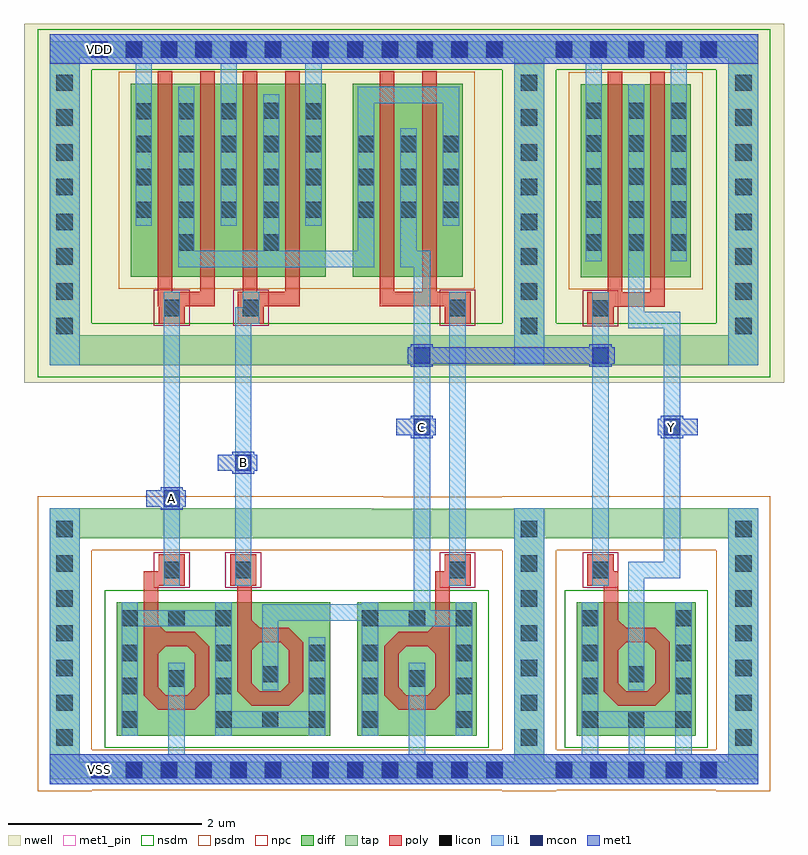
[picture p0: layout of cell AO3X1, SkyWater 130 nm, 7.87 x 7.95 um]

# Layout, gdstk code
import gdstk
lib = gdstk.Library(unit=1e-6, precision=1e-09)
def R(c, l, rs):  # rectangles x0, y0, x1, y1
    for r in rs: c.add(gdstk.rectangle(r[:2], r[2:], *l))
def A(c, l, x, y, w, h, nx, ny, dx, dy):  # array of equal rectangles
    R(c, l, [(x+i*dx, y+j*dy, x+i*dx+w, y+j*dy+h) for i in range(nx) for j in range(ny)])
def P(c, l, *ps):  # polygons
    for p in ps: c.add(gdstk.Polygon(p, *l))
nwell = (64, 20)
diff = (65, 20)
tap = (65, 44)
poly = (66, 20)
licon = (66, 44)
li1 = (67, 20)
mcon = (67, 44)
met1_pin = (68, 16)
met1 = (68, 20)
nsdm = (93, 44)
psdm = (94, 20)
npc = (95, 20)

ao3x1 = lib.new_cell('AO3X1')
R(ao3x1, nwell, [(-0.42,4.16,7.45,7.875)])
R(ao3x1, diff, [(0.54,0.505,2.75,1.885), (3.03,0.505,4.27,1.885), (5.305,0.505,6.535,1.885), (5.345,5.25,6.485,7.25), (0.685,5.255,2.705,7.255), (2.985,5.255,4.125,7.255)])
R(ao3x1, tap, [(-0.155,0.055,0.155,0.065), (4.655,0.055,4.965,0.065), (6.875,0.055,7.185,0.065), (-0.155,0.065,7.185,0.235), (-0.155,0.235,0.155,2.55), (4.655,0.235,4.965,2.55), (6.875,0.235,7.185,2.55), (-0.155,2.55,7.185,2.855), (-0.155,2.855,3.175,2.86), (4.655,2.855,7.185,2.86), (-0.155,4.34,7.185,4.65), (-0.155,4.65,0.155,7.525), (4.655,4.65,4.965,7.525), (6.875,4.65,7.185,7.525), (-0.155,7.525,7.185,7.695)])
A(ao3x1, poly, 0.965, 5.1, 0.15, 2.285, 4, 1, 0.44, 0)
R(ao3x1, poly, [(0.97,0.775,1.35,0.925), (3.46,0.775,3.84,0.815), (1.94,0.815,2.32,0.965), (3.42,0.815,3.84,0.925), (5.735,0.815,6.115,0.965), (0.82,0.925,0.97,1.43), (1.35,0.925,1.5,1.43), (3.31,0.925,3.46,1.43), (3.84,0.925,3.99,1.43), (1.79,0.965,1.94,1.47), (2.32,0.965,2.47,1.47), (5.585,0.965,5.735,1.47), (6.115,0.965,6.265,1.47), (0.82,1.43,1.35,1.58), (3.46,1.43,3.99,1.58), (1.79,1.47,2.32,1.62), (5.585,1.47,6.115,1.62), (0.82,1.58,0.97,2.055), (3.8,1.58,3.99,1.62), (1.79,1.62,1.94,2.055), (3.84,1.62,3.99,2.055), (5.585,1.62,5.735,2.055), (0.82,2.055,1.245,2.205), (1.715,2.055,1.985,2.385), (3.84,2.055,4.205,2.205), (5.415,2.055,5.735,2.205), (0.975,2.205,1.245,2.385), (3.935,2.205,4.205,2.385), (5.415,2.205,5.685,2.385), (5.415,4.765,5.685,4.945), (0.975,4.77,1.245,4.95), (1.795,4.77,2.065,4.95), (3.935,4.77,4.205,4.95), (5.415,4.945,6.215,5.095), (0.965,4.95,1.555,5.1), (1.795,4.95,2.435,5.1), (3.265,4.95,4.205,5.1), (5.625,5.095,5.775,7.38), (6.065,5.095,6.215,7.38), (3.265,5.1,3.415,7.385), (3.705,5.1,3.855,7.385)])
P(ao3x1, poly, [(0.97,1.66),(0.97,1.58),(1.05,1.58)],
  [(1.94,1.7),(1.94,1.62),(2.02,1.62)],
  [(3.8,1.62),(3.84,1.62),(3.84,1.66)],
  [(1.35,1.58),(1.35,1.43),(1.5,1.43)],
  [(0.97,1.35),(0.97,1.43),(1.05,1.43)],
  [(1.27,1.43),(1.35,1.43),(1.35,1.35)],
  [(0.97,1.005),(0.97,0.925),(1.05,0.925)],
  [(1.27,0.925),(1.35,0.925),(1.35,1.005)],
  [(0.82,0.925),(0.97,0.925),(0.97,0.775)],
  [(1.35,0.775),(1.35,0.925),(1.5,0.925)],
  [(2.32,1.62),(2.32,1.47),(2.47,1.47)],
  [(3.76,1.58),(3.8,1.58),(3.8,1.62)],
  [(1.94,1.39),(1.94,1.47),(2.02,1.47)],
  [(2.24,1.47),(2.32,1.47),(2.32,1.39)],
  [(1.94,1.045),(1.94,0.965),(2.02,0.965)],
  [(2.24,0.965),(2.32,0.965),(2.32,1.045)],
  [(1.79,0.965),(1.94,0.965),(1.94,0.815)],
  [(2.32,0.815),(2.32,0.965),(2.47,0.965)],
  [(3.31,1.43),(3.46,1.43),(3.46,1.58)],
  [(3.46,1.35),(3.46,1.43),(3.54,1.43)],
  [(3.76,1.43),(3.84,1.43),(3.84,1.35)],
  [(3.46,1.005),(3.46,0.925),(3.54,0.925)],
  [(3.76,0.925),(3.84,0.925),(3.84,1.005)],
  [(3.31,0.925),(3.42,0.925),(3.42,0.815)],
  [(3.42,0.815),(3.46,0.815),(3.46,0.775)],
  [(3.84,0.775),(3.84,0.925),(3.99,0.925)],
  [(5.735,1.7),(5.735,1.62),(5.815,1.62)],
  [(6.115,1.62),(6.115,1.47),(6.265,1.47)],
  [(5.735,1.39),(5.735,1.47),(5.815,1.47)],
  [(6.035,1.47),(6.115,1.47),(6.115,1.39)],
  [(5.735,1.045),(5.735,0.965),(5.815,0.965)],
  [(6.035,0.965),(6.115,0.965),(6.115,1.045)],
  [(5.585,0.965),(5.735,0.965),(5.735,0.815)],
  [(6.115,0.815),(6.115,0.965),(6.265,0.965)])
A(ao3x1, licon, 0.275, 0.065, 0.17, 0.17, 6, 2, 0.36, 7.46)
A(ao3x1, licon, 2.565, 0.065, 0.17, 0.17, 6, 2, 0.36, 7.46)
A(ao3x1, licon, 5.445, 0.065, 0.17, 0.17, 3, 2, 0.39, 7.46)
A(ao3x1, licon, -0.085, 0.4, 0.17, 0.17, 1, 7, 0, 0.36)
A(ao3x1, licon, 4.725, 0.4, 0.17, 0.17, 1, 7, 0, 0.36)
A(ao3x1, licon, 6.945, 0.4, 0.17, 0.17, 1, 7, 0, 0.36)
A(ao3x1, licon, 1.56, 0.585, 0.17, 0.17, 3, 1, 0.485, 0)
A(ao3x1, licon, 0.59, 0.935, 0.17, 0.17, 3, 2, 0.97, 0.34)
A(ao3x1, licon, 0.59, 1.635, 0.17, 0.17, 3, 1, 0.485, 0)
A(ao3x1, licon, 3.08, 1.635, 0.17, 0.17, 3, 1, 0.485, 0)
A(ao3x1, licon, -0.085, 4.66, 0.17, 0.17, 1, 8, 0, 0.36)
A(ao3x1, licon, 4.725, 4.66, 0.17, 0.17, 1, 8, 0, 0.36)
A(ao3x1, licon, 6.945, 4.66, 0.17, 0.17, 1, 8, 0, 0.36)
A(ao3x1, licon, 5.395, 5.525, 0.17, 0.17, 3, 2, 0.44, 0.345)
A(ao3x1, licon, 0.735, 5.865, 0.17, 0.17, 5, 3, 0.44, 0.34)
A(ao3x1, licon, 3.035, 5.865, 0.17, 0.17, 3, 3, 0.44, 0.34)
A(ao3x1, licon, 5.395, 6.21, 0.17, 0.17, 3, 3, 0.44, 0.34)
A(ao3x1, licon, 0.735, 6.885, 0.17, 0.17, 3, 1, 0.44, 0)
R(ao3x1, licon, [(5.085,0.065,5.255,0.235), (6.585,0.065,6.755,0.235), (0.59,0.585,0.76,0.755), (3.08,0.585,3.25,0.755), (4.05,0.585,4.22,0.755), (5.355,0.585,5.525,0.755), (5.835,0.585,6.005,0.755), (6.325,0.585,6.495,0.755), (3.08,0.935,3.25,1.105), (4.05,0.935,4.22,1.105), (5.355,0.935,5.525,1.105), (6.325,0.935,6.495,1.105), (1.075,1.01,1.245,1.18), (3.565,1.01,3.735,1.18), (2.045,1.055,2.215,1.225), (5.835,1.055,6.005,1.225), (3.08,1.275,3.25,1.445), (4.05,1.275,4.22,1.445), (5.355,1.275,5.525,1.445), (6.325,1.275,6.495,1.445), (5.355,1.635,5.525,1.805), (6.325,1.635,6.495,1.805), (1.025,2.135,1.195,2.305), (1.765,2.135,1.935,2.305), (3.985,2.135,4.155,2.305), (5.465,2.135,5.635,2.305), (5.465,4.845,5.635,5.015), (1.025,4.85,1.195,5.02), (1.845,4.85,2.015,5.02), (3.985,4.85,4.155,5.02), (1.175,5.525,1.345,5.695), (2.055,5.525,2.225,5.695), (2.495,6.885,2.665,7.055), (2.055,6.89,2.225,7.06), (5.085,7.525,5.255,7.695), (6.585,7.525,6.755,7.695)])
A(ao3x1, li1, 5.355, 0.31, 0.17, 0.275, 3, 1, 0.485, 0)
A(ao3x1, li1, 0.735, 5.785, 0.17, 1.675, 3, 1, 0.88, 0)
R(ao3x1, li1, [(-0.155,0,7.185,0.31), (-0.155,0.31,0.155,2.86), (1.075,0.31,1.245,1.26), (3.565,0.31,3.735,1.26), (4.655,0.31,4.965,2.86), (6.875,0.31,7.185,2.86), (0.59,0.505,0.76,1.635), (1.56,0.505,1.73,0.585), (2.53,0.505,2.7,0.585), (3.08,0.505,3.25,1.635), (4.05,0.505,4.22,1.635), (1.56,0.585,2.7,0.755), (5.355,0.585,6.495,0.755), (1.56,0.755,1.73,1.635), (2.53,0.755,2.7,1.525), (5.355,0.755,5.525,1.885), (6.325,0.755,6.495,1.885), (2.045,0.975,2.215,1.695), (5.835,0.975,6.005,2.135), (0.59,1.635,1.73,1.805), (3.08,1.635,4.22,1.695), (2.045,1.695,4.22,1.805), (0.59,1.805,0.76,1.885), (1.56,1.805,1.73,1.885), (2.045,1.805,3.25,1.865), (3.615,1.805,3.785,5.355), (4.05,1.805,4.22,1.885), (3.08,1.865,3.25,1.885), (1.025,2.055,1.195,5.1), (1.765,2.055,1.935,4.77), (3.985,2.055,4.155,5.1), (5.465,2.055,5.635,5.095), (5.835,2.135,6.375,2.305), (6.205,2.305,6.375,4.725), (-0.155,4.34,0.155,7.46), (4.655,4.34,4.965,7.46), (6.875,4.34,7.185,7.46), (5.835,4.725,6.375,4.895), (1.765,4.77,2.015,4.94), (5.835,4.895,6.005,7.25), (1.845,4.94,2.015,5.1), (1.175,5.355,3.205,5.525), (3.475,5.355,3.785,5.525), (5.395,5.415,5.565,7.46), (6.275,5.415,6.445,7.46), (1.175,5.525,1.345,7.225), (2.055,5.525,2.225,7.145), (3.035,5.525,3.205,7.055), (3.475,5.525,3.645,6.795), (3.915,5.785,4.085,7.055), (3.035,7.055,4.085,7.225), (-0.155,7.46,7.185,7.77)])
A(ao3x1, mcon, 0.275, 0.065, 0.17, 0.17, 6, 2, 0.36, 7.46)
A(ao3x1, mcon, 2.565, 0.065, 0.17, 0.17, 6, 2, 0.36, 7.46)
A(ao3x1, mcon, 5.445, 0.065, 0.17, 0.17, 3, 2, 0.39, 7.46)
R(ao3x1, mcon, [(5.085,0.065,5.255,0.235), (6.585,0.065,6.755,0.235), (1.025,2.875,1.195,3.045), (1.765,3.245,1.935,3.415), (3.615,3.615,3.785,3.785), (6.205,3.615,6.375,3.785), (3.615,4.355,3.785,4.525), (5.465,4.355,5.635,4.525), (5.085,7.525,5.255,7.695), (6.585,7.525,6.755,7.695)])
R(ao3x1, met1_pin, [(0.275,0.065,0.445,0.235), (1.025,2.875,1.195,3.045), (1.765,3.245,1.935,3.415), (3.615,3.615,3.785,3.785), (6.205,3.615,6.375,3.785), (0.275,7.525,0.445,7.695)])
R(ao3x1, met1, [(-0.155,0,7.185,0.31), (0.995,2.845,1.225,2.875), (0.845,2.875,1.255,3.045), (0.995,3.045,1.225,3.075), (1.735,3.215,1.965,3.245), (1.585,3.245,1.995,3.415), (1.735,3.415,1.965,3.445), (3.585,3.585,3.815,3.615), (6.175,3.585,6.405,3.615), (3.435,3.615,3.845,3.785), (6.145,3.615,6.555,3.785), (3.585,3.785,3.815,3.815), (6.175,3.785,6.405,3.815), (3.585,4.325,3.815,4.355), (5.435,4.325,5.665,4.355), (3.555,4.355,5.695,4.525), (3.585,4.525,3.815,4.555), (5.435,4.525,5.665,4.555), (-0.155,7.46,7.185,7.77)])
R(ao3x1, nsdm, [(0.415,0.38,4.395,2.01), (5.18,0.38,6.66,2.01), (-0.28,4.215,7.31,4.775), (-0.28,4.775,0.28,7.4), (4.53,4.775,5.09,7.4), (6.75,4.775,7.31,7.4), (-0.28,7.4,7.31,7.82)])
R(ao3x1, psdm, [(-0.28,-0.07,0.28,-0.06), (4.53,-0.07,5.09,-0.06), (6.75,-0.07,7.31,-0.06), (-0.28,-0.06,7.31,0.36), (-0.28,0.36,0.28,2.425), (4.53,0.36,5.09,2.425), (6.75,0.36,7.31,2.425), (-0.28,2.425,7.31,2.98), (-0.28,2.98,3.3,2.985), (4.53,2.98,7.31,2.985), (5.22,5.125,6.61,7.375), (0.56,5.13,4.25,7.38)])
R(ao3x1, npc, [(0.925,2.035,1.295,2.405), (1.665,2.035,2.035,2.405), (3.885,2.035,4.255,2.405), (5.365,2.035,5.735,2.405), (5.365,4.745,5.735,5.115), (0.925,4.75,1.295,5.12), (1.745,4.75,2.115,5.12), (3.885,4.75,4.255,5.12)])
ao3x1.add(gdstk.Label('Y', (6.29,3.7), layer=68, texttype=16))
ao3x1.add(gdstk.Label('A', (1.11,2.96), layer=68, texttype=16))
ao3x1.add(gdstk.Label('B', (1.85,3.33), layer=68, texttype=16))
ao3x1.add(gdstk.Label('C', (3.7,3.7), layer=68, texttype=16))
ao3x1.add(gdstk.Label('VDD', (0.36,7.61), layer=68, texttype=16))
ao3x1.add(gdstk.Label('VSS', (0.36,0.15), layer=68, texttype=16))

lib.write_gds('AO3X1.gds')
